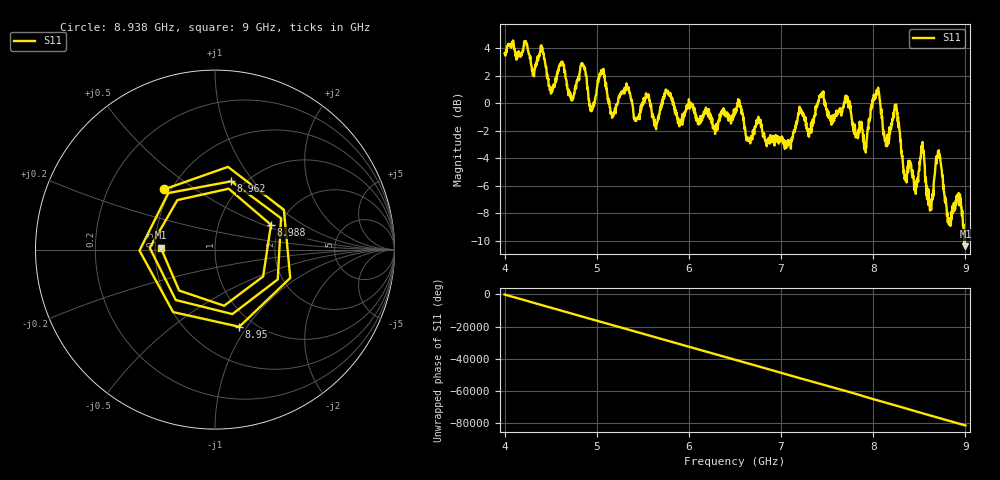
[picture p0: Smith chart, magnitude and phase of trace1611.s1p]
! Created with skrf 1.8.0 (http://scikit-rf.org).
# Hz S RI R 50.0
!freq ReS11 ImS11
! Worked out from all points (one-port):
!   1601 points, 4 GHz to 9 GHz, reference 50 ohm
!   lowest |S11| = -10.4 dB at 9 GHz (marker M1), VSWR 1.87, Z = 26.8 + j0.63 ohm
!   |S11| at or under -10 dB: 8.99016 GHz to 8.993796 GHz (3.636 MHz wide, 0.0404 % of centre); 8.994147 GHz to end of sweep
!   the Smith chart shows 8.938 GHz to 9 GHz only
!   S11 on the Smith chart (normalised r, x): 8.938 GHz: 0.46, +0.38; 8.95 GHz: 0.85, -0.92; 8.962 GHz: 0.87, +0.78; 8.988 GHz: 1.79, +0.56; 9 GHz: 0.54, +0.01
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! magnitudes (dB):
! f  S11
! 4 GHz  3.6
! 4.503 GHz  0.7
! 4.625 GHz  3.0
! 4.734 GHz  0.2
! 4.853 GHz  2.7
! 4.944 GHz  -0.6
! 5.053 GHz  2.1
! 5.166 GHz  -1.0
! 5.25 GHz  0.5
! 5.875 GHz  -1.1
! 6.5 GHz  -0.6
! 7.125 GHz  -2.5
! 7.434 GHz  0.7
! 7.75 GHz  -0.4
! 7.912 GHz  -3.2
! 8.031 GHz  0.6
! 8.147 GHz  -2.9
! 8.244 GHz  -0.2
! 8.375 GHz  -4.5
! 8.534 GHz  -2.8
! 8.622 GHz  -7.3
! 8.706 GHz  -3.7
! 8.819 GHz  -8.5
! 8.938 GHz  -7.1
! 8.95 GHz  -6.9
! 8.962 GHz  -8.2
! 8.988 GHz  -9.3
! 9 GHz  -10.4
